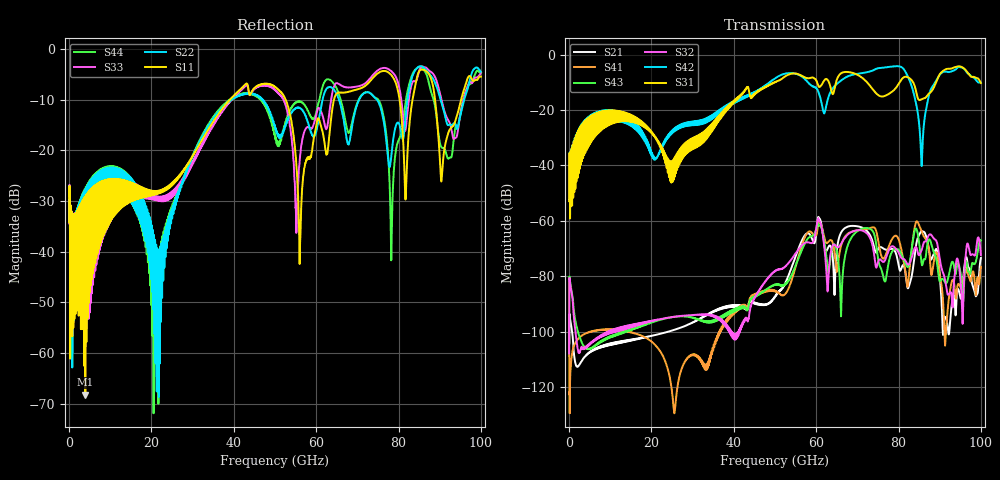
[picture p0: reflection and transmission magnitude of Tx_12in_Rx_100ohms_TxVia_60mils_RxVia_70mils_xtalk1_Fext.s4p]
! Info: Touchstone file created by Circ.  Input file=Tx_12in_Rx_100ohms_TxVia_60mils_RxVia_70mils.circ
# Hz S RI R 50
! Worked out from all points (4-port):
!   10000 points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, 10 MHz to 100 GHz, reference 50 ohm
!   strongest paths, dB at 10 MHz, 25.01 GHz, 50.01 GHz, 75.01 GHz, 100 GHz:
!     S31: -52.9, -39.3, -9.8, -14.5, -10.2
!     S42: -52.3, -27.3, -8.5, -4.9, -10.0
!     S32: -107.9, -94.7, -78.2, -74.9, -72.4
!     S43: -104.0, -94.8, -83.2, -73.5, -67.1
!     S41: -95.2, -121.9, -85.5, -66.6, -76.6
!     S21: -97.8, -99.6, -87.5, -70.3, -73.4
!   lowest |S11| = -68.2 dB at 3.94 GHz (marker M1), VSWR 1.00, Z = 50 + j0.0273 ohm
!   |S11| at or under -10 dB: start of sweep to 39.11 GHz; 52.54 GHz to 64.35 GHz (11.81 GHz wide, 20.2 % of centre); 88.87 GHz to 95.21 GHz (6.337 GHz wide, 6.88 % of centre)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
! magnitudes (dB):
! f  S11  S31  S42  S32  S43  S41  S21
! 10 MHz  -34.2  -52.9  -52.3  -107.9  -104.0  -95.2  -97.8
! 3.94 GHz  -68.2  -35.4  -31.8  -106.1  -105.8  -100.7  -108.8
! 21.25 GHz  -28.3  -30.5  -37.1  -95.8  -96.2  -105.4  -101.1
! 39.43 GHz  -9.7  -18.1  -17.9  -101.7  -93.0  -93.8  -91.0
! 56.04 GHz  -39.9  -7.3  -7.5  -69.6  -72.2  -71.1  -68.8
! 78.27 GHz  -5.2  -13.5  -4.3  -69.3  -71.6  -67.1  -70.1
! 100 GHz  -5.5  -10.2  -10.0  -72.4  -67.1  -76.6  -73.4
